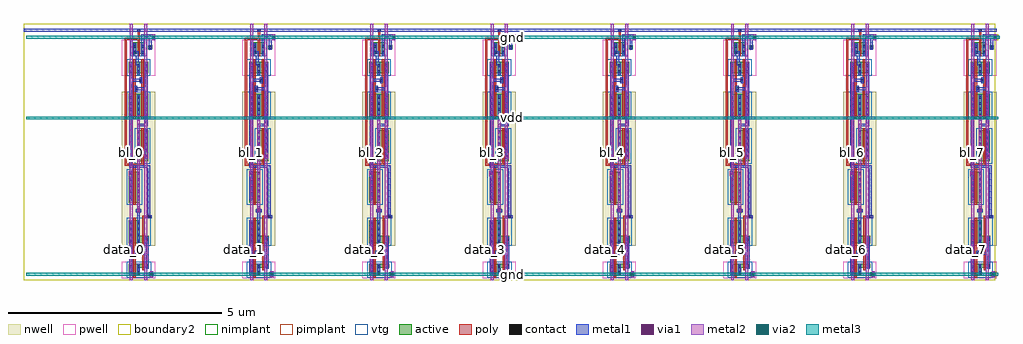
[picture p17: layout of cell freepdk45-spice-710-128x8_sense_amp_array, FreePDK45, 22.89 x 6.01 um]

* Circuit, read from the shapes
.subckt freepdk45-spice-710-128x8_sense_amp_array bl_0 bl_1 bl_2 bl_3 bl_4 bl_5 bl_6 bl_7 br_0 br_1 br_2 br_3 br_4 br_5 br_6 br_7 data_0 data_1 data_2 data_3 data_4 data_5 data_6 data_7 en gnd vdd
M1 gnd n1 data_0 gnd nfet w=0.27u l=0.05u
M2 n2 n3 n4 gnd nfet w=0.27u l=0.05u
M3 gnd en n2 gnd nfet w=0.27u l=0.05u
M4 n3 n4 n2 gnd nfet w=0.27u l=0.05u
M5 n1 n4 gnd gnd nfet w=0.09u l=0.05u
M6 gnd n5 data_1 gnd nfet w=0.27u l=0.05u
M7 n6 n7 n8 gnd nfet w=0.27u l=0.05u
M8 gnd en n6 gnd nfet w=0.27u l=0.05u
M9 n7 n8 n6 gnd nfet w=0.27u l=0.05u
M10 n5 n8 gnd gnd nfet w=0.09u l=0.05u
M11 gnd n9 data_2 gnd nfet w=0.27u l=0.05u
M12 n10 n11 n12 gnd nfet w=0.27u l=0.05u
M13 gnd en n10 gnd nfet w=0.27u l=0.05u
M14 n11 n12 n10 gnd nfet w=0.27u l=0.05u
M15 n9 n12 gnd gnd nfet w=0.09u l=0.05u
M16 gnd n13 data_3 gnd nfet w=0.27u l=0.05u
M17 n14 n15 n16 gnd nfet w=0.27u l=0.05u
M18 gnd en n14 gnd nfet w=0.27u l=0.05u
M19 n15 n16 n14 gnd nfet w=0.27u l=0.05u
M20 n13 n16 gnd gnd nfet w=0.09u l=0.05u
M21 gnd n17 data_4 gnd nfet w=0.27u l=0.05u
M22 n18 n19 n20 gnd nfet w=0.27u l=0.05u
M23 gnd en n18 gnd nfet w=0.27u l=0.05u
M24 n19 n20 n18 gnd nfet w=0.27u l=0.05u
M25 n17 n20 gnd gnd nfet w=0.09u l=0.05u
M26 gnd n21 data_5 gnd nfet w=0.27u l=0.05u
M27 n22 n23 n24 gnd nfet w=0.27u l=0.05u
M28 gnd en n22 gnd nfet w=0.27u l=0.05u
M29 n23 n24 n22 gnd nfet w=0.27u l=0.05u
M30 n21 n24 gnd gnd nfet w=0.09u l=0.05u
M31 gnd n25 data_6 gnd nfet w=0.27u l=0.05u
M32 n26 n27 n28 gnd nfet w=0.27u l=0.05u
M33 gnd en n26 gnd nfet w=0.27u l=0.05u
M34 n27 n28 n26 gnd nfet w=0.27u l=0.05u
M35 n25 n28 gnd gnd nfet w=0.09u l=0.05u
M36 gnd n29 data_7 gnd nfet w=0.27u l=0.05u
M37 n30 n31 n32 gnd nfet w=0.27u l=0.05u
M38 gnd en n30 gnd nfet w=0.27u l=0.05u
M39 n31 n32 n30 gnd nfet w=0.27u l=0.05u
M40 n29 n32 gnd gnd nfet w=0.09u l=0.05u
M41 vdd n1 data_0 vdd pfet w=0.54u l=0.05u
M42 n4 en bl_0 vdd pfet w=0.72u l=0.05u
M43 vdd n3 n4 vdd pfet w=0.54u l=0.05u
M44 br_0 en n3 vdd pfet w=0.72u l=0.05u
M45 n3 n4 vdd vdd pfet w=0.54u l=0.05u
M46 n1 n4 vdd vdd pfet w=0.18u l=0.05u
M47 vdd n5 data_1 vdd pfet w=0.54u l=0.05u
M48 n8 en bl_1 vdd pfet w=0.72u l=0.05u
M49 vdd n7 n8 vdd pfet w=0.54u l=0.05u
M50 br_1 en n7 vdd pfet w=0.72u l=0.05u
M51 n7 n8 vdd vdd pfet w=0.54u l=0.05u
M52 n5 n8 vdd vdd pfet w=0.18u l=0.05u
M53 vdd n9 data_2 vdd pfet w=0.54u l=0.05u
M54 n12 en bl_2 vdd pfet w=0.72u l=0.05u
M55 vdd n11 n12 vdd pfet w=0.54u l=0.05u
M56 br_2 en n11 vdd pfet w=0.72u l=0.05u
M57 n11 n12 vdd vdd pfet w=0.54u l=0.05u
M58 n9 n12 vdd vdd pfet w=0.18u l=0.05u
M59 vdd n13 data_3 vdd pfet w=0.54u l=0.05u
M60 n16 en bl_3 vdd pfet w=0.72u l=0.05u
M61 vdd n15 n16 vdd pfet w=0.54u l=0.05u
M62 br_3 en n15 vdd pfet w=0.72u l=0.05u
M63 n15 n16 vdd vdd pfet w=0.54u l=0.05u
M64 n13 n16 vdd vdd pfet w=0.18u l=0.05u
M65 vdd n17 data_4 vdd pfet w=0.54u l=0.05u
M66 n20 en bl_4 vdd pfet w=0.72u l=0.05u
M67 vdd n19 n20 vdd pfet w=0.54u l=0.05u
M68 br_4 en n19 vdd pfet w=0.72u l=0.05u
M69 n19 n20 vdd vdd pfet w=0.54u l=0.05u
M70 n17 n20 vdd vdd pfet w=0.18u l=0.05u
M71 vdd n21 data_5 vdd pfet w=0.54u l=0.05u
M72 n24 en bl_5 vdd pfet w=0.72u l=0.05u
M73 vdd n23 n24 vdd pfet w=0.54u l=0.05u
M74 br_5 en n23 vdd pfet w=0.72u l=0.05u
M75 n23 n24 vdd vdd pfet w=0.54u l=0.05u
M76 n21 n24 vdd vdd pfet w=0.18u l=0.05u
M77 vdd n25 data_6 vdd pfet w=0.54u l=0.05u
M78 n28 en bl_6 vdd pfet w=0.72u l=0.05u
M79 vdd n27 n28 vdd pfet w=0.54u l=0.05u
M80 br_6 en n27 vdd pfet w=0.72u l=0.05u
M81 n27 n28 vdd vdd pfet w=0.54u l=0.05u
M82 n25 n28 vdd vdd pfet w=0.18u l=0.05u
M83 vdd n29 data_7 vdd pfet w=0.54u l=0.05u
M84 n32 en bl_7 vdd pfet w=0.72u l=0.05u
M85 vdd n31 n32 vdd pfet w=0.54u l=0.05u
M86 br_7 en n31 vdd pfet w=0.72u l=0.05u
M87 n31 n32 vdd vdd pfet w=0.54u l=0.05u
M88 n29 n32 vdd vdd pfet w=0.18u l=0.05u
.ends

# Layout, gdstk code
import gdstk
lib = gdstk.Library(unit=1e-6, precision=5e-10)
def R(c, l, rs):  # rectangles x0, y0, x1, y1
    for r in rs: c.add(gdstk.rectangle(r[:2], r[2:], *l))
def A(c, l, x, y, w, h, nx, ny, dx, dy):  # array of equal rectangles
    R(c, l, [(x+i*dx, y+j*dy, x+i*dx+w, y+j*dy+h) for i in range(nx) for j in range(ny)])
def P(c, l, *ps):  # polygons
    for p in ps: c.add(gdstk.Polygon(p, *l))
active = (1, 0)
pwell = (2, 0)
nwell = (3, 0)
nimplant = (4, 0)
pimplant = (5, 0)
vtg = (6, 0)
poly = (9, 0)
contact = (10, 0)
metal1 = (11, 0)
via1 = (12, 0)
metal2 = (13, 0)
via2 = (14, 0)
metal3 = (15, 0)
boundary2 = (239, 0)

sense_amp = lib.new_cell('sense_amp')
R(sense_amp, active, [(0.595,0.095,0.685,0.185), (0.3075,1.58,0.3975,1.67), (0.1275,1.82,0.3875,2.54), (0.1275,1.82,0.2025,2.54), (0.1275,1.82,0.2025,2.54), (0.3125,1.82,0.3875,2.54), (0.3125,1.82,0.3875,2.54), (0.1275,1.905,0.2025,2.54), (0.3125,1.905,0.3875,2.54), (0.3175,2.79,0.5775,3.51), (0.3175,2.79,0.3925,3.51), (0.3175,2.79,0.3925,3.51), (0.5025,2.79,0.5775,3.51), (0.5025,2.79,0.5775,3.51), (0.3175,2.875,0.3925,3.51), (0.5025,2.875,0.5775,3.51), (0.1275,3.8275,0.2025,4.3225), (0.1275,3.8275,0.3875,4.3675), (0.1275,3.8275,0.2025,4.3675), (0.1275,3.8275,0.2025,4.3675), (0.3125,3.8275,0.3875,4.3225), (0.3125,3.8275,0.3875,4.3675), (0.3125,3.8275,0.3875,4.3675), (0.3175,3.8275,0.3925,4.3225), (0.3175,3.8275,0.5775,4.3675), (0.3175,3.8275,0.3925,4.3675), (0.3175,3.8275,0.3925,4.3675), (0.5025,3.8275,0.5775,4.3225), (0.5025,3.8275,0.5775,4.3675), (0.5025,3.8275,0.5775,4.3675), (0.1275,4.8525,0.2025,5.0675), (0.1275,4.8525,0.3875,5.1225), (0.1275,4.8525,0.2025,5.1225), (0.1275,4.8525,0.2025,5.1225), (0.3125,4.8525,0.3875,5.0675), (0.3125,4.8525,0.3875,5.1225), (0.3125,4.8525,0.3875,5.1225), (0.3175,4.8525,0.3925,5.0675), (0.3175,4.8525,0.5775,5.1225), (0.3175,4.8525,0.3925,5.1225), (0.3175,4.8525,0.3925,5.1225), (0.5025,4.8525,0.5775,5.0675), (0.5025,4.8525,0.5775,5.1225), (0.5025,4.8525,0.5775,5.1225), (0.2275,5.31,0.3025,5.525), (0.2275,5.31,0.4875,5.58), (0.2275,5.31,0.3025,5.58), (0.2275,5.31,0.3025,5.58), (0.4125,5.31,0.4875,5.525), (0.4125,5.31,0.4875,5.58), (0.4125,5.31,0.4875,5.58), (0.58,5.42,0.67,5.51)])
P(sense_amp, active, [(0.1275,0.11),(0.1275,0.38),(0.5925,0.38),(0.5925,0.29),(0.3875,0.29),(0.3875,0.11)],
  [(0.1275,0.865),(0.1275,1.405),(0.3875,1.405),(0.3875,1.045),(0.5925,1.045),(0.5925,0.865)])
R(sense_amp, pwell, [(-0.035,0.055,0.74,0.435), (-0.035,4.7975,0.74,5.635), (0.0725,4.7975,0.4425,5.1775), (0.2625,4.7975,0.6325,5.1775), (0.1725,5.255,0.5425,5.635), (0.525,5.365,0.725,5.565)])
P(sense_amp, pwell, [(-0.035,0.04),(-0.035,0.055),(0.595,0.055),(0.595,0.095),(0.685,0.095),(0.685,0.055),(0.74,0.055),(0.74,0.04)])
R(sense_amp, nwell, [(-0.035,0.81,0.74,4.4225), (0.0725,1.765,0.4425,2.595), (0.2625,2.735,0.6325,3.565), (0.0725,3.7725,0.4425,4.4225), (0.2625,3.7725,0.6325,4.4225)])
R(sense_amp, nimplant, [(0.3075,1.58,0.3975,1.67), (0.1275,4.8525,0.3875,5.1225), (0.3175,4.8525,0.5775,5.1225), (0.2275,5.31,0.4875,5.58)])
P(sense_amp, nimplant, [(0.1275,0.11),(0.1275,0.38),(0.5925,0.38),(0.5925,0.29),(0.3875,0.29),(0.3875,0.11)])
R(sense_amp, pimplant, [(0.595,0.095,0.685,0.185), (0.1275,1.82,0.3875,2.54), (0.3175,2.79,0.5775,3.51), (0.1275,3.8275,0.3875,4.3675), (0.3175,3.8275,0.5775,4.3675), (0.58,5.42,0.67,5.51)])
P(sense_amp, pimplant, [(0.1275,0.865),(0.1275,1.405),(0.3875,1.405),(0.3875,1.045),(0.5925,1.045),(0.5925,0.865)])
R(sense_amp, vtg, [(0.0725,0.055,0.6475,0.435), (0.0725,0.81,0.645,1.46), (0.0725,1.765,0.4425,2.595), (0.2625,2.735,0.6325,3.565), (0.0725,3.7725,0.4425,4.4225), (0.2625,3.7725,0.6325,4.4225), (0.0725,4.7975,0.4425,5.1775), (0.2625,4.7975,0.6325,5.1775), (0.1725,5.255,0.5425,5.635)])
R(sense_amp, poly, [(0.2325,0.055,0.2825,1.46), (0.2575,0.585,0.3325,0.66), (0.2325,1.765,0.2825,1.82), (0.2325,1.765,0.2825,2.595), (0.2325,2.54,0.2825,2.595), (0.2325,2.595,0.2825,2.685), (0.0275,2.685,0.4725,2.735), (0.0275,2.735,0.0775,5.635), (0.4225,2.735,0.4725,2.79), (0.4225,2.735,0.4725,3.565), (0.4225,3.51,0.4725,3.565), (0.2325,3.7725,0.2825,3.8275), (0.2325,3.7725,0.2825,4.4225), (0.4225,3.7725,0.4725,3.8275), (0.4225,3.7725,0.4725,4.4225), (0.2325,4.04,0.2825,4.7975), (0.4225,4.04,0.4725,4.7975), (0.2325,4.3675,0.2825,4.4225), (0.4225,4.3675,0.4725,4.4225), (0.2575,4.4525,0.3325,4.5275), (0.3725,4.6525,0.4475,4.7275), (0.2325,4.7975,0.2825,4.8525), (0.2325,4.7975,0.2825,5.1775), (0.4225,4.7975,0.4725,4.8525), (0.4225,4.7975,0.4725,5.1775), (0.2325,5.1225,0.2825,5.1775), (0.4225,5.1225,0.4725,5.1775), (0.3325,5.255,0.3825,5.31), (0.3325,5.255,0.3825,5.635), (0.3325,5.58,0.3825,5.635), (0.0275,5.635,0.3825,5.685), (0.3325,5.685,0.3825,5.89), (0.32,5.8225,0.395,5.8975)])
P(sense_amp, poly, [(0.4375,0.235),(0.4375,1.505),(0.56,1.505),(0.56,1.525),(0.635,1.525),(0.635,1.45),(0.4875,1.45),(0.4875,0.235)])
A(sense_amp, contact, 0.1325, 0.8875, 0.065, 0.065, 1, 4, 0, 0.14)
A(sense_amp, contact, 0.3175, 0.8875, 0.065, 0.065, 1, 4, 0, 0.14)
A(sense_amp, contact, 0.1325, 1.91, 0.065, 0.065, 1, 5, 0, 0.14)
A(sense_amp, contact, 0.3175, 1.91, 0.065, 0.065, 1, 5, 0, 0.14)
A(sense_amp, contact, 0.3225, 2.88, 0.065, 0.065, 1, 5, 0, 0.14)
A(sense_amp, contact, 0.5075, 2.88, 0.065, 0.065, 1, 5, 0, 0.14)
A(sense_amp, contact, 0.1325, 3.8325, 0.065, 0.065, 1, 4, 0, 0.14)
A(sense_amp, contact, 0.3225, 3.8325, 0.065, 0.065, 1, 4, 0, 0.14)
A(sense_amp, contact, 0.5075, 3.8325, 0.065, 0.065, 1, 4, 0, 0.14)
R(sense_amp, contact, [(0.61,0.1075,0.675,0.1725), (0.1325,0.1425,0.1975,0.2075), (0.3175,0.1425,0.3825,0.2075), (0.1325,0.2825,0.1975,0.3475), (0.3175,0.2825,0.3825,0.3475), (0.5225,0.3,0.5875,0.365), (0.2625,0.59,0.3275,0.655), (0.5225,0.92,0.5875,0.985), (0.565,1.455,0.63,1.52), (0.32,1.5925,0.385,1.6575), (0.2625,4.4575,0.3275,4.5225), (0.3775,4.6575,0.4425,4.7225), (0.1325,4.8575,0.1975,4.9225), (0.3225,4.8575,0.3875,4.9225), (0.5075,4.8575,0.5725,4.9225), (0.1325,4.9975,0.1975,5.0625), (0.3225,4.9975,0.3875,5.0625), (0.5075,4.9975,0.5725,5.0625), (0.2325,5.315,0.2975,5.38), (0.4175,5.315,0.4825,5.38), (0.5925,5.4325,0.6575,5.4975), (0.2325,5.455,0.2975,5.52), (0.4175,5.455,0.4825,5.52), (0.325,5.8275,0.39,5.8925)])
R(sense_amp, metal1, [(0.1325,0.1075,0.1975,1.4075), (0.3175,0.1075,0.3825,0.3825), (0.3825,0.1075,0.5675,0.1725), (0.5225,0.265,0.5875,0.3), (0.2625,0.555,0.3275,0.69), (-0.0025,0.64,0.0625,0.775), (-0.0075,0.67,0.0675,0.745), (0.0675,0.675,0.1325,0.74), (0.3175,0.8525,0.3825,0.8875), (0.3175,0.8875,0.3825,1.6575), (0.5225,0.985,0.5875,1.02), (0.53,1.455,0.665,1.52), (0.565,1.455,0.63,2.7), (0.285,1.5925,0.42,1.6575), (0.32,1.5925,0.385,1.7275), (0.1325,1.875,0.1975,2.57), (0.3175,1.875,0.3825,2.57), (0.1275,2.435,0.1925,2.57), (0.32,2.5025,0.385,2.7), (0.1325,2.635,0.63,2.7), (0.1325,2.7,0.1975,3.7975), (0.3225,2.845,0.3875,3.54), (0.5075,2.845,0.5725,3.54), (0.51,2.845,0.575,2.98), (0.3225,3.475,0.3875,3.67), (0.3225,3.605,0.5725,3.67), (0.5075,3.605,0.5725,3.8), (0.32,3.735,0.385,3.87), (0.1325,3.7975,0.1975,4.3525), (0.3175,3.7975,0.3825,4.3525), (0.3225,3.7975,0.3875,4.3525), (0.5075,3.7975,0.5725,4.3525), (0.1325,3.96,0.1975,4.8275), (0.5075,3.96,0.5725,4.8225), (0.2625,4.4225,0.3275,4.5575), (0.2825,4.4575,0.5725,4.5225), (0.3775,4.6225,0.4425,4.7575), (0.1325,4.6575,0.4225,4.7225), (0.1325,4.8225,0.1975,5.0975), (0.3175,4.8225,0.3825,5.0975), (0.3225,4.8225,0.3875,5.0975), (0.5075,4.8225,0.5725,5.0975), (0.2825,5.04,0.3525,5.3675), (0.2325,5.28,0.2975,5.555), (0.4175,5.28,0.4825,5.555), (0.5925,5.3975,0.6575,5.5325), (0.5925,5.5325,0.6575,5.7625), (0.4175,5.545,0.4825,5.6975), (0.6575,5.6275,0.6725,5.6975), (0.6725,5.6275,0.7375,5.7625), (0.4175,5.6975,0.74,5.7625), (-0.035,5.8275,0.74,5.8925), (-0.035,5.8275,0.74,5.8925), (0.23,5.8275,0.295,5.8925), (0.29,5.8275,0.425,5.8925)])
P(sense_amp, metal1, [(0.5225,0.3),(0.5225,0.59),(0.2625,0.59),(0.2625,0.655),(0.5225,0.655),(0.5225,0.985),(0.5875,0.985),(0.5875,0.3)],
  [(0.6325,0.0725),(0.6325,0.1075),(0.5675,0.1075),(0.5675,0.1725),(0.6325,0.1725),(0.6325,0.2075),(0.6975,0.2075),(0.6975,0.1725),(0.71,0.1725),(0.71,0.1075),(0.6975,0.1075),(0.6975,0.0725)],
  [(0,1.4525),(0,1.4525),(0,1.4525),(0,1.4525)])
R(sense_amp, via1, [(0.6325,0.1075,0.6975,0.1725), (-0.0025,0.675,0.0625,0.74), (0.32,1.6275,0.385,1.6925), (0.1275,2.47,0.1925,2.535), (0.51,2.88,0.575,2.945), (0.32,3.77,0.385,3.835), (0.6725,5.6625,0.7375,5.7275)])
R(sense_amp, metal2, [(0.15,0,0.22,6.01), (0.15,0,0.22,6.01), (0.485,0,0.555,6.01), (0.485,0,0.555,6.01), (0.6275,0.0725,0.7025,0.2075), (0.6275,0.0725,0.7025,0.2075), (0.6275,0.1025,0.7025,0.1775), (-0.01,0.64,0.0675,0.775), (-0.01,0.64,0.0675,0.775), (-0.0075,0.67,0.0675,0.745), (0.3175,1.5925,0.3875,1.7275), (0.3175,1.725,0.3875,3.735), (0.125,2.435,0.195,2.57), (0.5075,2.845,0.5775,2.98), (0.3175,3.735,0.3875,3.87), (0.3175,3.735,0.3875,3.87), (0.67,5.6275,0.74,5.7625), (0.67,5.6275,0.74,5.7625)])
R(sense_amp, boundary2, [(0,0,0.705,6.01)])
sense_amp.add(gdstk.Label('en', (0.258,5.86), layer=11, texttype=0))
sense_amp.add(gdstk.Label('dout', (0.0285,0.6925), layer=13, texttype=0))
sense_amp.add(gdstk.Label('gnd', (0.6555,0.1235), layer=13, texttype=0))
sense_amp.add(gdstk.Label('bl', (0.19,0.005), layer=13, texttype=0))
sense_amp.add(gdstk.Label('br', (0.52,0.0065), layer=13, texttype=0))
sense_amp.add(gdstk.Label('vdd', (0.3525,3.8), layer=13, texttype=0))
sense_amp.add(gdstk.Label('gnd', (0.7025,5.735), layer=13, texttype=0))
sense_amp.add(gdstk.Label('bl', (0.185,3.005), layer=13, texttype=0))
sense_amp.add(gdstk.Label('br', (0.52,3.005), layer=13, texttype=0))
sense_amp.add(gdstk.Label('dout', (0.029,0.7075), layer=13, texttype=0))
sense_amp.add(gdstk.Label('en', (0.3525,5.86), layer=11, texttype=0))
sense_amp.add(gdstk.Label('vdd', (0.3525,3.8025), layer=13, texttype=0))
sense_amp.add(gdstk.Label('gnd', (0.665,0.14), layer=13, texttype=0))
sense_amp.add(gdstk.Label('gnd', (0.705,5.695), layer=13, texttype=0))

freepdk45_spice_710_128x = lib.new_cell('freepdk45-spice-710-128x8_contact_18')
R(freepdk45_spice_710_128x, metal2, [(0.0325,0,0.1025,0.135)])
R(freepdk45_spice_710_128x, via2, [(0.035,0.035,0.1,0.1)])
R(freepdk45_spice_710_128x, metal3, [(0,0.0325,0.135,0.1025)])
R(freepdk45_spice_710_128x, boundary2, [(0,0,0.135,0.135)])

c_freepdk45_spice_710_128x = lib.new_cell('freepdk45-spice-710-128x8_sense_amp_array')
A(c_freepdk45_spice_710_128x, metal1, 2.665, 5.8275, 0.065, 0.065, 8, 1, 2.82, 0)
R(c_freepdk45_spice_710_128x, metal1, [(0,5.8275,22.79,5.8925)])
A(c_freepdk45_spice_710_128x, metal2, 2.335, 0.64, 0.0775, 0.135, 8, 1, 2.82, 0)
R(c_freepdk45_spice_710_128x, metal2, [(2.495,0,2.565,6.01), (2.83,0,2.9,6.01), (5.315,0,5.385,6.01), (5.65,0,5.72,6.01), (8.135,0,8.205,6.01), (8.47,0,8.54,6.01), (10.955,0,11.025,6.01), (11.29,0,11.36,6.01), (13.775,0,13.845,6.01), (14.11,0,14.18,6.01), (16.595,0,16.665,6.01), (16.93,0,17,6.01), (19.415,0,19.485,6.01), (19.75,0,19.82,6.01), (22.235,0,22.305,6.01), (22.57,0,22.64,6.01)])
R(c_freepdk45_spice_710_128x, metal3, [(0.0675,0.105,22.8575,0.175), (0.0675,3.7675,22.8575,3.8375), (0.0675,5.66,22.8925,5.73)])
R(c_freepdk45_spice_710_128x, boundary2, [(0,0,22.79,6.01)])
c_freepdk45_spice_710_128x.add(gdstk.Reference(sense_amp, (2.345,0)))
c_freepdk45_spice_710_128x.add(gdstk.Reference(sense_amp, (5.165,0)))
c_freepdk45_spice_710_128x.add(gdstk.Reference(sense_amp, (7.985,0)))
c_freepdk45_spice_710_128x.add(gdstk.Reference(sense_amp, (10.805,0)))
c_freepdk45_spice_710_128x.add(gdstk.Reference(sense_amp, (13.625,0)))
c_freepdk45_spice_710_128x.add(gdstk.Reference(sense_amp, (16.445,0)))
c_freepdk45_spice_710_128x.add(gdstk.Reference(sense_amp, (19.265,0)))
c_freepdk45_spice_710_128x.add(gdstk.Reference(sense_amp, (22.085,0)))
c_freepdk45_spice_710_128x.add(gdstk.Reference(freepdk45_spice_710_128x, (2.63,3.735)))
c_freepdk45_spice_710_128x.add(gdstk.Reference(freepdk45_spice_710_128x, (5.45,3.735)))
c_freepdk45_spice_710_128x.add(gdstk.Reference(freepdk45_spice_710_128x, (8.27,3.735)))
c_freepdk45_spice_710_128x.add(gdstk.Reference(freepdk45_spice_710_128x, (11.09,3.735)))
c_freepdk45_spice_710_128x.add(gdstk.Reference(freepdk45_spice_710_128x, (13.91,3.735)))
c_freepdk45_spice_710_128x.add(gdstk.Reference(freepdk45_spice_710_128x, (16.73,3.735)))
c_freepdk45_spice_710_128x.add(gdstk.Reference(freepdk45_spice_710_128x, (19.55,3.735)))
c_freepdk45_spice_710_128x.add(gdstk.Reference(freepdk45_spice_710_128x, (22.37,3.735)))
c_freepdk45_spice_710_128x.add(gdstk.Reference(freepdk45_spice_710_128x, (2.9425,0.0725)))
c_freepdk45_spice_710_128x.add(gdstk.Reference(freepdk45_spice_710_128x, (5.7625,0.0725)))
c_freepdk45_spice_710_128x.add(gdstk.Reference(freepdk45_spice_710_128x, (8.5825,0.0725)))
c_freepdk45_spice_710_128x.add(gdstk.Reference(freepdk45_spice_710_128x, (11.4025,0.0725)))
c_freepdk45_spice_710_128x.add(gdstk.Reference(freepdk45_spice_710_128x, (14.2225,0.0725)))
c_freepdk45_spice_710_128x.add(gdstk.Reference(freepdk45_spice_710_128x, (17.0425,0.0725)))
c_freepdk45_spice_710_128x.add(gdstk.Reference(freepdk45_spice_710_128x, (19.8625,0.0725)))
c_freepdk45_spice_710_128x.add(gdstk.Reference(freepdk45_spice_710_128x, (22.6825,0.0725)))
c_freepdk45_spice_710_128x.add(gdstk.Reference(freepdk45_spice_710_128x, (2.9825,5.6275)))
c_freepdk45_spice_710_128x.add(gdstk.Reference(freepdk45_spice_710_128x, (5.8025,5.6275)))
c_freepdk45_spice_710_128x.add(gdstk.Reference(freepdk45_spice_710_128x, (8.6225,5.6275)))
c_freepdk45_spice_710_128x.add(gdstk.Reference(freepdk45_spice_710_128x, (11.4425,5.6275)))
c_freepdk45_spice_710_128x.add(gdstk.Reference(freepdk45_spice_710_128x, (14.2625,5.6275)))
c_freepdk45_spice_710_128x.add(gdstk.Reference(freepdk45_spice_710_128x, (17.0825,5.6275)))
c_freepdk45_spice_710_128x.add(gdstk.Reference(freepdk45_spice_710_128x, (19.9025,5.6275)))
c_freepdk45_spice_710_128x.add(gdstk.Reference(freepdk45_spice_710_128x, (22.7225,5.6275)))
c_freepdk45_spice_710_128x.add(gdstk.Label('bl_0', (2.53,3.005), layer=13, texttype=0))
c_freepdk45_spice_710_128x.add(gdstk.Label('br_0', (2.865,3.005), layer=13, texttype=0))
c_freepdk45_spice_710_128x.add(gdstk.Label('data_0', (2.374,0.7075), layer=13, texttype=0))
c_freepdk45_spice_710_128x.add(gdstk.Label('bl_1', (5.35,3.005), layer=13, texttype=0))
c_freepdk45_spice_710_128x.add(gdstk.Label('br_1', (5.685,3.005), layer=13, texttype=0))
c_freepdk45_spice_710_128x.add(gdstk.Label('data_1', (5.194,0.7075), layer=13, texttype=0))
c_freepdk45_spice_710_128x.add(gdstk.Label('bl_2', (8.17,3.005), layer=13, texttype=0))
c_freepdk45_spice_710_128x.add(gdstk.Label('br_2', (8.505,3.005), layer=13, texttype=0))
c_freepdk45_spice_710_128x.add(gdstk.Label('data_2', (8.014,0.7075), layer=13, texttype=0))
c_freepdk45_spice_710_128x.add(gdstk.Label('bl_3', (10.99,3.005), layer=13, texttype=0))
c_freepdk45_spice_710_128x.add(gdstk.Label('br_3', (11.325,3.005), layer=13, texttype=0))
c_freepdk45_spice_710_128x.add(gdstk.Label('data_3', (10.834,0.7075), layer=13, texttype=0))
c_freepdk45_spice_710_128x.add(gdstk.Label('bl_4', (13.81,3.005), layer=13, texttype=0))
c_freepdk45_spice_710_128x.add(gdstk.Label('br_4', (14.145,3.005), layer=13, texttype=0))
c_freepdk45_spice_710_128x.add(gdstk.Label('data_4', (13.654,0.7075), layer=13, texttype=0))
c_freepdk45_spice_710_128x.add(gdstk.Label('bl_5', (16.63,3.005), layer=13, texttype=0))
c_freepdk45_spice_710_128x.add(gdstk.Label('br_5', (16.965,3.005), layer=13, texttype=0))
c_freepdk45_spice_710_128x.add(gdstk.Label('data_5', (16.474,0.7075), layer=13, texttype=0))
c_freepdk45_spice_710_128x.add(gdstk.Label('bl_6', (19.45,3.005), layer=13, texttype=0))
c_freepdk45_spice_710_128x.add(gdstk.Label('br_6', (19.785,3.005), layer=13, texttype=0))
c_freepdk45_spice_710_128x.add(gdstk.Label('data_6', (19.294,0.7075), layer=13, texttype=0))
c_freepdk45_spice_710_128x.add(gdstk.Label('bl_7', (22.27,3.005), layer=13, texttype=0))
c_freepdk45_spice_710_128x.add(gdstk.Label('br_7', (22.605,3.005), layer=13, texttype=0))
c_freepdk45_spice_710_128x.add(gdstk.Label('data_7', (22.114,0.7075), layer=13, texttype=0))
c_freepdk45_spice_710_128x.add(gdstk.Label('vdd', (11.4625,3.8025), layer=15, texttype=0))
c_freepdk45_spice_710_128x.add(gdstk.Label('gnd', (11.48,5.695), layer=15, texttype=0))
c_freepdk45_spice_710_128x.add(gdstk.Label('gnd', (11.4625,0.14), layer=15, texttype=0))
c_freepdk45_spice_710_128x.add(gdstk.Label('en', (11.395,5.86), layer=11, texttype=0))

lib.write_gds('freepdk45-spice-710-128x8_sense_amp_array.gds')
